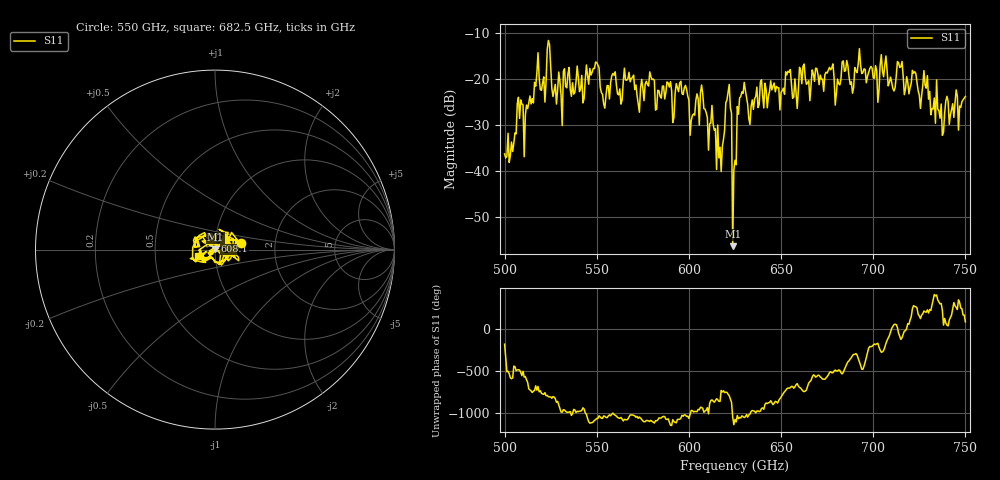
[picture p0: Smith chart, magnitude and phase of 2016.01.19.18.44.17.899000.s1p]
!Created with skrf (http://scikit-rf.org).
# GHz S RI R 50.0
!freq ReS11 ImS11
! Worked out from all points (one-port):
!   401 points, 500 GHz to 750 GHz, reference 50 ohm
!   lowest |S11| = -56.5 dB at 623.8 GHz (marker M1), VSWR 1.00, Z = 50.1 + j0.0762 ohm
!   |S11| at or under -10 dB: start of sweep to end of sweep
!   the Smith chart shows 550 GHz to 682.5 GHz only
!   S11 on the Smith chart (normalised r, x): 550 GHz: 1.34, +0.10; 608.1 GHz: 1.00, +0.10; 682.5 GHz: 0.83, -0.06
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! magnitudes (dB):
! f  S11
! 500 GHz  -36.3
! 517.5 GHz  -18.7
! 521.2 GHz  -19.5
! 523.8 GHz  -11.6
! 526.9 GHz  -22.5
! 531.2 GHz  -30.1
! 550 GHz  -16.4
! 553.8 GHz  -25.4
! 558.8 GHz  -18.8
! 562.5 GHz  -22.2
! 566.2 GHz  -20.3
! 593.8 GHz  -21.9
! 601.9 GHz  -28.0
! 608.1 GHz  -26.5
! 616.2 GHz  -37.2
! 621.9 GHz  -21.2
! 623.8 GHz  -56.5
! 625 GHz  -37.7
! 628.8 GHz  -22.8
! 633.8 GHz  -25.9
! 656.2 GHz  -24.2
! 682.5 GHz  -20.0
! 687.5 GHz  -21.2
! 714.4 GHz  -17.5
! 718.8 GHz  -20.7
! 728.1 GHz  -21.3
! 737.5 GHz  -32.3
! 750 GHz  -23.8
